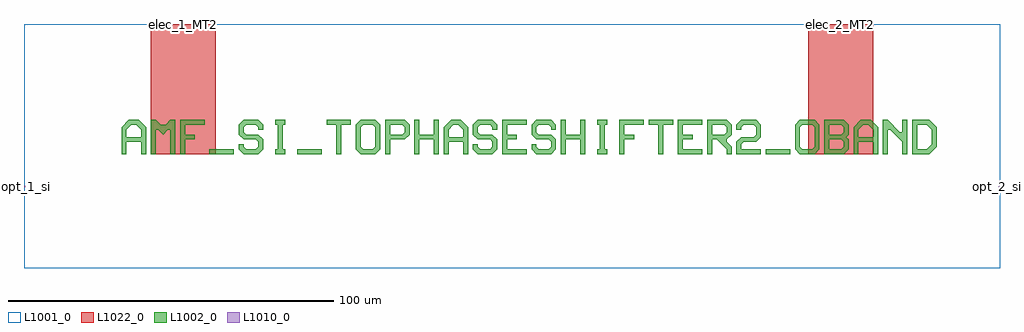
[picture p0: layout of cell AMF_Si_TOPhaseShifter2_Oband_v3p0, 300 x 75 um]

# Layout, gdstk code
import gdstk
lib = gdstk.Library(unit=1e-6, precision=1e-09)
def R(c, l, rs):  # rectangles x0, y0, x1, y1
    for r in rs: c.add(gdstk.rectangle(r[:2], r[2:], *l))
def P(c, l, *ps):  # polygons
    for p in ps: c.add(gdstk.Polygon(p, *l))
L1001_0 = (1001, 0)
L1002_0 = (1002, 0)
L1010_0 = (1010, 0)
L1022_0 = (1022, 0)

amf_si_tophaseshifter2_o = lib.new_cell('AMF_Si_TOPhaseShifter2_Oband_v3p0')
R(amf_si_tophaseshifter2_o, L1001_0, [(0,-25,300,50)])
R(amf_si_tophaseshifter2_o, L1002_0, [(57,10,64.5,11.5), (84,10,91.5,11.5), (228,10,235.5,11.5)])
P(amf_si_tophaseshifter2_o, L1002_0, [(30,10),(30,18.25),(32.25,20.5),(35.25,20.5),(36.75,19),(33,19),(31.5,17.5),(31.5,15.25),(36,15.25),(36,17.5),(34.5,19),(36.75,19),(37.5,18.25),(37.5,10),(36,10),(36,13.75),(31.5,13.75),(31.5,10)],
  [(39,10),(39,20.5),(40.5,20.5),(42,19),(43.5,19),(45,20.5),(46.5,20.5),(46.5,10),(45,10),(45,17.5),(44.25,17.5),(42.75,16),(41.25,17.5),(40.5,17.5),(40.5,10)],
  [(48,10),(48,20.5),(55.5,20.5),(55.5,19),(49.5,19),(49.5,16),(52.5,16),(52.5,14.5),(49.5,14.5),(49.5,10)],
  [(67.5,10),(66,11.5),(66,13),(67.5,13),(67.5,12.25),(68.25,11.5),(71.25,11.5),(72,12.25),(72,13.75),(71.25,14.5),(67.5,14.5),(66,16),(66,19),(67.5,20.5),(72,20.5),(73.5,19),(73.5,17.5),(72,17.5),(72,18.25),(71.25,19),(68.25,19),(67.5,18.25),(67.5,16.75),(68.25,16),(72,16),(73.5,14.5),(73.5,11.5),(72,10)],
  [(77.25,10),(77.25,11.5),(78,11.5),(78,19),(77.25,19),(77.25,20.5),(80.25,20.5),(80.25,19),(79.5,19),(79.5,11.5),(80.25,11.5),(80.25,10)],
  [(96,10),(96,19),(93,19),(93,20.5),(100.5,20.5),(100.5,19),(97.5,19),(97.5,10)],
  [(103.5,10),(102,11.5),(102,19),(103.5,20.5),(108,20.5),(109.5,19),(109.5,15.25),(108,15.25),(108,18.25),(107.25,19),(104.25,19),(103.5,18.25),(103.5,12.25),(104.25,11.5),(107.25,11.5),(108,12.25),(108,15.25),(109.5,15.25),(109.5,11.5),(108,10)],
  [(111,10),(111,20.5),(117,20.5),(118.5,19),(118.5,16),(117,14.5),(112.5,14.5),(112.5,16),(116.25,16),(117,16.75),(117,18.25),(116.25,19),(112.5,19),(112.5,10)],
  [(120,10),(120,20.5),(121.5,20.5),(121.5,16),(126,16),(126,20.5),(127.5,20.5),(127.5,10),(126,10),(126,14.5),(121.5,14.5),(121.5,10)],
  [(129,10),(129,18.25),(131.25,20.5),(134.25,20.5),(135.75,19),(132,19),(130.5,17.5),(130.5,15.25),(135,15.25),(135,17.5),(133.5,19),(135.75,19),(136.5,18.25),(136.5,10),(135,10),(135,13.75),(130.5,13.75),(130.5,10)],
  [(139.5,10),(138,11.5),(138,13),(139.5,13),(139.5,12.25),(140.25,11.5),(143.25,11.5),(144,12.25),(144,13.75),(143.25,14.5),(139.5,14.5),(138,16),(138,19),(139.5,20.5),(144,20.5),(145.5,19),(145.5,17.5),(144,17.5),(144,18.25),(143.25,19),(140.25,19),(139.5,18.25),(139.5,16.75),(140.25,16),(144,16),(145.5,14.5),(145.5,11.5),(144,10)],
  [(147,10),(147,20.5),(154.5,20.5),(154.5,19),(148.5,19),(148.5,16),(151.5,16),(151.5,14.5),(148.5,14.5),(148.5,11.5),(154.5,11.5),(154.5,10)],
  [(157.5,10),(156,11.5),(156,13),(157.5,13),(157.5,12.25),(158.25,11.5),(161.25,11.5),(162,12.25),(162,13.75),(161.25,14.5),(157.5,14.5),(156,16),(156,19),(157.5,20.5),(162,20.5),(163.5,19),(163.5,17.5),(162,17.5),(162,18.25),(161.25,19),(158.25,19),(157.5,18.25),(157.5,16.75),(158.25,16),(162,16),(163.5,14.5),(163.5,11.5),(162,10)],
  [(165,10),(165,20.5),(166.5,20.5),(166.5,16),(171,16),(171,20.5),(172.5,20.5),(172.5,10),(171,10),(171,14.5),(166.5,14.5),(166.5,10)],
  [(176.25,10),(176.25,11.5),(177,11.5),(177,19),(176.25,19),(176.25,20.5),(179.25,20.5),(179.25,19),(178.5,19),(178.5,11.5),(179.25,11.5),(179.25,10)],
  [(183,10),(183,20.5),(190.5,20.5),(190.5,19),(184.5,19),(184.5,16),(187.5,16),(187.5,14.5),(184.5,14.5),(184.5,10)],
  [(195,10),(195,19),(192,19),(192,20.5),(199.5,20.5),(199.5,19),(196.5,19),(196.5,10)],
  [(201,10),(201,20.5),(208.5,20.5),(208.5,19),(202.5,19),(202.5,16),(205.5,16),(205.5,14.5),(202.5,14.5),(202.5,11.5),(208.5,11.5),(208.5,10)],
  [(210,10),(210,20.5),(216,20.5),(217.5,19),(211.5,19),(211.5,16),(215.25,16),(216,16.75),(216,18.25),(215.25,19),(217.5,19),(217.5,16),(216,14.5),(216,13.75),(217.5,12.25),(217.5,10),(216,10),(216,11.5),(213,14.5),(211.5,14.5),(211.5,10)],
  [(219,10),(219,13.75),(220.5,15.25),(224.25,15.25),(225,16),(225,18.25),(224.25,19),(221.25,19),(220.5,18.25),(220.5,17.5),(219,17.5),(219,19),(220.5,20.5),(225,20.5),(226.5,19),(226.5,15.25),(225,13.75),(221.25,13.75),(220.5,13),(220.5,11.5),(226.5,11.5),(226.5,10)],
  [(238.5,10),(237,11.5),(237,19),(238.5,20.5),(243,20.5),(244.5,19),(244.5,15.25),(243,15.25),(243,18.25),(242.25,19),(239.25,19),(238.5,18.25),(238.5,12.25),(239.25,11.5),(242.25,11.5),(243,12.25),(243,15.25),(244.5,15.25),(244.5,11.5),(243,10)],
  [(246,10),(246,20.5),(252,20.5),(253.5,19),(247.5,19),(247.5,16),(251.25,16),(252,16.75),(252,18.25),(251.25,19),(253.5,19),(253.5,16),(252.75,15.25),(253.5,14.5),(247.5,14.5),(247.5,11.5),(251.25,11.5),(252,12.25),(252,13.75),(251.25,14.5),(253.5,14.5),(253.5,11.5),(252,10)],
  [(255,10),(255,18.25),(257.25,20.5),(260.25,20.5),(261.75,19),(258,19),(256.5,17.5),(256.5,15.25),(261,15.25),(261,17.5),(259.5,19),(261.75,19),(262.5,18.25),(262.5,10),(261,10),(261,13.75),(256.5,13.75),(256.5,10)],
  [(264,10),(264,20.5),(265.5,20.5),(269.25,16.75),(270,16.75),(270,20.5),(271.5,20.5),(271.5,10),(270,10),(270,13.75),(266.25,17.5),(265.5,17.5),(265.5,10)],
  [(273,10),(273,20.5),(278.25,20.5),(279.75,19),(274.5,19),(274.5,11.5),(277.5,11.5),(279,13),(279,17.5),(277.5,19),(279.75,19),(280.5,18.25),(280.5,12.25),(278.25,10)])
R(amf_si_tophaseshifter2_o, L1010_0, [(0,-0.205,0.41,0.205), (299.59,-0.205,300,0.205)])
R(amf_si_tophaseshifter2_o, L1022_0, [(39,10,59,50), (241,10,261,50)])
amf_si_tophaseshifter2_o.add(gdstk.Label('opt_2_si', (300,0), layer=1010, texttype=0))
amf_si_tophaseshifter2_o.add(gdstk.Label('opt_1_si', (0,0), layer=1010, texttype=0))
amf_si_tophaseshifter2_o.add(gdstk.Label('elec_2_MT2', (251,50), layer=1022, texttype=0))
amf_si_tophaseshifter2_o.add(gdstk.Label('elec_1_MT2', (49,50), layer=1022, texttype=0))

lib.write_gds('AMF_Si_TOPhaseShifter2_Oband_v3p0.gds')
